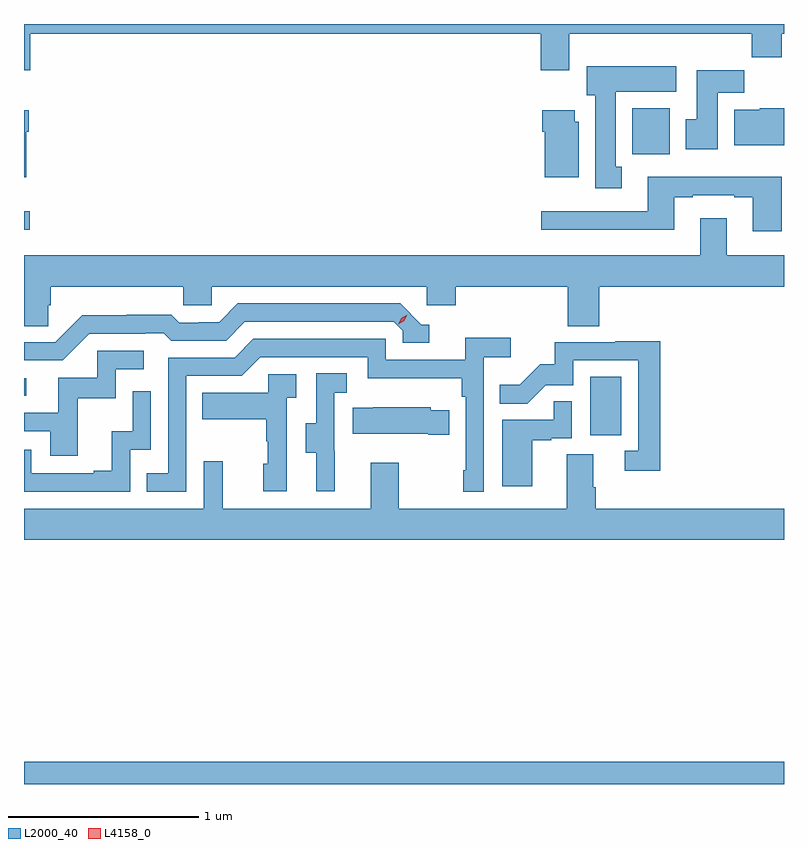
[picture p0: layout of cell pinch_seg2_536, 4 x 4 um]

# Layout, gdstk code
import gdstk
lib = gdstk.Library(unit=1e-6, precision=1e-09)
def R(c, l, rs):  # rectangles x0, y0, x1, y1
    for r in rs: c.add(gdstk.rectangle(r[:2], r[2:], *l))
def P(c, l, *ps):  # polygons
    for p in ps: c.add(gdstk.Polygon(p, *l))
L2000_40 = (2000, 40)
L4158_0 = (4158, 0)

pinch_seg2_536 = lib.new_cell('pinch_seg2_536')
R(pinch_seg2_536, L2000_40, [(1106.77,618.378,1110.77,618.496), (1109.75,620.214,1109.914,620.521), (1106.77,620.421,1106.782,620.514), (1106.77,621.296,1106.8,621.393), (1109.972,621.692,1110.169,621.934)])
P(pinch_seg2_536, L2000_40, [(1106.804,622.328),(1109.489,622.328),(1109.489,622.134),(1109.641,622.134),(1109.641,622.328),(1110.601,622.328),(1110.601,622.204),(1110.758,622.204),(1110.758,622.328),(1110.77,622.328),(1110.77,622.378),(1106.77,622.378),(1106.77,622.134),(1106.804,622.134)],
  [(1109.917,621.626),(1109.884,621.626),(1109.884,622.022),(1110.202,622.022),(1110.202,622.156),(1109.732,622.156),(1109.732,622.002),(1109.777,622.002),(1109.777,621.513),(1109.917,621.513)],
  [(1110.421,622.016),(1110.56,622.016),(1110.56,622.135),(1110.311,622.135),(1110.311,621.876),(1110.254,621.876),(1110.254,621.72),(1110.421,621.72)],
  [(1110.77,621.934),(1110.642,621.934),(1110.642,621.928),(1110.509,621.928),(1110.509,621.74),(1110.77,621.74)],
  [(1106.782,621.812),(1106.795,621.812),(1106.795,621.925),(1106.77,621.925),(1106.77,621.572),(1106.782,621.572)],
  [(1109.689,621.864),(1109.668,621.864),(1109.668,621.925),(1109.498,621.925),(1109.498,621.812),(1109.51,621.812),(1109.51,621.572),(1109.689,621.572)],
  [(1110.758,621.574),(1110.053,621.574),(1110.053,621.393),(1109.493,621.393),(1109.493,621.296),(1110.193,621.296),(1110.193,621.465),(1110.289,621.465),(1110.289,621.477),(1110.509,621.477),(1110.509,621.465),(1110.605,621.465),(1110.605,621.288),(1110.758,621.288)],
  [(1106.77,620.788),(1106.897,620.788),(1106.897,620.898),(1106.912,620.898),(1106.912,620.996),(1107.609,620.996),(1107.609,620.898),(1107.759,620.898),(1107.759,620.996),(1108.89,620.996),(1108.89,620.898),(1109.042,620.898),(1109.042,620.996),(1109.633,620.996),(1109.633,620.788),(1109.798,620.788),(1109.798,620.996),(1110.77,620.996),(1110.77,621.16),(1110.469,621.16),(1110.469,621.355),(1110.329,621.355),(1110.329,621.16),(1106.77,621.16)],
  [(1107.114,620.748),(1107.407,620.748),(1107.407,620.751),(1107.506,620.751),(1107.545,620.712),(1107.834,620.712),(1107.933,620.811),(1108.716,620.811),(1108.764,620.763),(1108.764,620.7),(1108.903,620.7),(1108.903,620.796),(1108.86,620.796),(1108.749,620.907),(1107.896,620.907),(1107.797,620.808),(1107.69,620.808),(1107.69,620.805),(1107.587,620.805),(1107.545,620.848),(1107.312,620.848),(1107.312,620.845),(1107.076,620.845),(1106.934,620.703),(1106.77,620.703),(1106.77,620.607),(1106.973,620.607)],
  [(1107.624,620.526),(1107.915,620.526),(1108.014,620.625),(1108.578,620.625),(1108.578,620.513),(1109.074,620.513),(1109.074,620.417),(1109.094,620.417),(1109.094,620.029),(1109.082,620.029),(1109.082,619.917),(1109.19,619.917),(1109.19,620.624),(1109.332,620.624),(1109.332,620.726),(1109.093,620.726),(1109.093,620.61),(1108.674,620.61),(1108.674,620.721),(1107.977,620.721),(1107.878,620.622),(1107.528,620.622),(1107.528,620.013),(1107.415,620.013),(1107.415,619.917),(1107.624,619.917)],
  [(1110.119,620.708),(1109.881,620.708),(1109.881,620.703),(1109.563,620.703),(1109.563,620.586),(1109.486,620.586),(1109.379,620.479),(1109.275,620.479),(1109.275,620.38),(1109.419,620.38),(1109.517,620.478),(1109.661,620.478),(1109.661,620.607),(1110.003,620.607),(1110.003,620.133),(1109.931,620.133),(1109.931,620.028),(1110.119,620.028)],
  [(1107.053,620.409),(1107.252,620.409),(1107.252,620.562),(1107.4,620.562),(1107.4,620.658),(1107.156,620.658),(1107.156,620.517),(1106.951,620.517),(1106.951,620.331),(1106.77,620.331),(1106.77,620.235),(1106.909,620.235),(1106.909,620.106),(1107.053,620.106)],
  [(1108.406,620.133),(1108.404,620.133),(1108.404,620.437),(1108.468,620.437),(1108.468,620.54),(1108.308,620.54),(1108.308,620.277),(1108.253,620.277),(1108.253,620.122),(1108.307,620.122),(1108.307,619.92),(1108.406,619.92)],
  [(1108.152,620.411),(1108.204,620.411),(1108.204,620.535),(1108.056,620.535),(1108.056,620.437),(1107.709,620.437),(1107.709,620.297),(1108.044,620.297),(1108.044,620.183),(1108.054,620.183),(1108.054,620.064),(1108.028,620.064),(1108.028,619.92),(1108.152,619.92)],
  [(1107.33,620.136),(1107.438,620.136),(1107.438,620.446),(1107.342,620.446),(1107.342,620.234),(1107.233,620.234),(1107.233,620.026),(1107.137,620.026),(1107.137,620.013),(1106.808,620.013),(1106.808,620.136),(1106.77,620.136),(1106.77,619.917),(1107.33,619.917)],
  [(1109.446,620.187),(1109.546,620.187),(1109.546,620.199),(1109.652,620.199),(1109.652,620.393),(1109.557,620.393),(1109.557,620.295),(1109.288,620.295),(1109.288,619.944),(1109.446,619.944)],
  [(1109.009,620.344),(1108.911,620.344),(1108.911,620.362),(1108.609,620.362),(1108.609,620.359),(1108.501,620.359),(1108.501,620.222),(1108.898,620.222),(1108.898,620.215),(1109.009,620.215)],
  [(1110.77,619.828),(1109.78,619.828),(1109.78,619.94),(1109.767,619.94),(1109.767,620.114),(1109.627,620.114),(1109.627,619.828),(1108.743,619.828),(1108.743,620.068),(1108.595,620.068),(1108.595,619.828),(1107.815,619.828),(1107.815,620.077),(1107.717,620.077),(1107.717,619.828),(1106.77,619.828),(1106.77,619.664),(1110.77,619.664)])
P(pinch_seg2_536, L4158_0, [(1108.74,620.797),(1108.74,620.797),(1108.756,620.83),(1108.787,620.849),(1108.787,620.849),(1108.787,620.849),(1108.771,620.816),(1108.74,620.797)])

lib.write_gds('pinch_seg2_536.gds')
